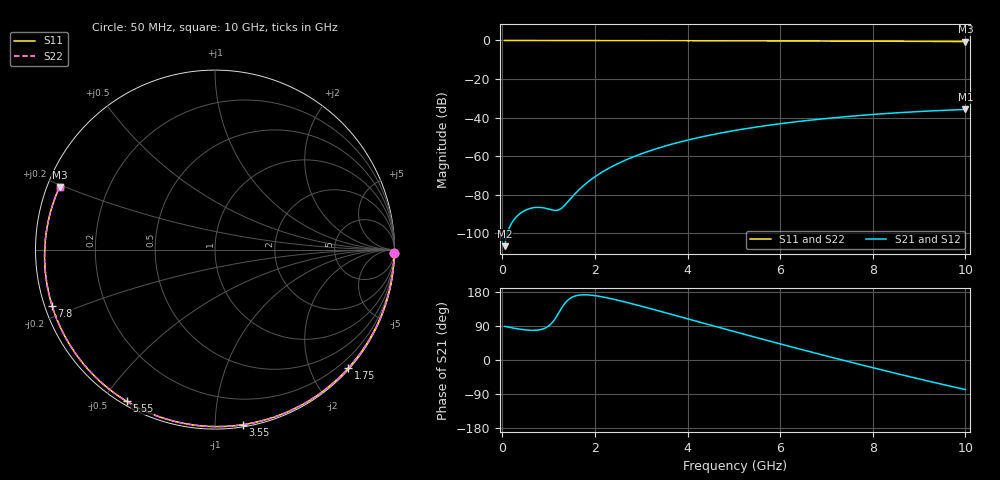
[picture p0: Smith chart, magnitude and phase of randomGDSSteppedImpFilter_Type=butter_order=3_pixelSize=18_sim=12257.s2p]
! freq	dB(S11)	phase(S11)	dB(S12)	phase(S12)
!  dB(S21)	phase(S21)	dB(S22)	phase(S22)
!S-par simulation data
#  GHz  S  DB  R 50
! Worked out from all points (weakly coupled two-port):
!   200 points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, 50 MHz to 10 GHz, reference 50 ohm
!   highest |S21| = -35.77 dB at 10 GHz (marker M1); lowest = -106.6 dB at 50 MHz (marker M2)
!   lowest |S11| = -0.6 dB at 10 GHz (marker M3), VSWR 29.32, Z = 1.77 + j9.68 ohm
!   |S11| at or under -10 dB: nowhere
!   |S22| runs from -0.6 to 0.0 dB; largest |S21 - S12| = 0
!   S11 on the Smith chart (normalised r, x): 50 MHz: 3, -98; 1.75 GHz: 0.02, -2.63; 3.55 GHz: 0.01, -1.17; 5.55 GHz: 0.01, -0.57; 7.8 GHz: 0.02, -0.17; 10 GHz: 0.04, +0.19
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0.05  -0.00 -1.2  -106.60 88.7  -106.60 88.7  -0.00 -1.2
0.45  -0.02 -10.9  -88.59 80.2  -88.59 80.2  -0.02 -10.9
0.8  -0.02 -19.3  -86.51 79.6  -86.51 79.6  -0.02 -19.3
1.15  -0.03 -27.6  -88.08 110.5  -88.08 110.5  -0.03 -27.6
1.55  -0.05 -37.0  -79.99 167.9  -79.99 167.9  -0.05 -37.0
1.75  -0.05 -41.6  -75.30 172.0  -75.30 172.0  -0.05 -41.6
2.05  -0.06 -48.5  -69.83 168.9  -69.83 168.9  -0.06 -48.5
2.25  -0.07 -53.0  -66.90 164.4  -66.90 164.4  -0.07 -53.0
2.45  -0.07 -57.4  -64.36 159.0  -64.36 159.0  -0.07 -57.4
2.9  -0.09 -67.3  -59.65 145.3  -59.65 145.3  -0.09 -67.3
3.4  -0.10 -77.9  -55.55 128.9  -55.55 128.9  -0.10 -77.9
3.55  -0.11 -81.1  -54.48 123.9  -54.48 123.9  -0.11 -81.0
4.3  -0.13 -96.3  -50.00 98.7  -50.00 98.7  -0.13 -96.3
5.05  -0.17 -110.8  -46.54 73.6  -46.54 73.6  -0.17 -110.8
5.55  -0.19 -120.2  -44.64 57.1  -44.64 57.1  -0.19 -120.2
6.15  -0.23 -131.3  -42.70 37.6  -42.70 37.6  -0.23 -131.3
6.7  -0.26 -141.2  -41.18 20.1  -41.18 20.1  -0.26 -141.2
7.25  -0.31 -151.1  -39.87 2.8  -39.87 2.8  -0.31 -151.1
7.8  -0.35 -161.0  -38.73 -14.2  -38.73 -14.2  -0.35 -161.0
8.35  -0.41 -170.9  -37.77 -30.8  -37.77 -30.8  -0.41 -170.9
9.2  -0.50 173.4  -36.58 -55.7  -36.58 -55.7  -0.50 173.4
10  -0.59 158.1  -35.77 -78.0  -35.77 -78.0  -0.59 158.0
